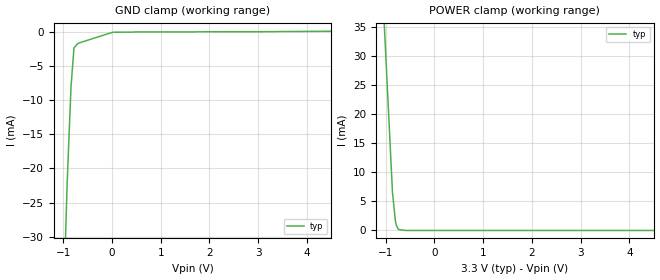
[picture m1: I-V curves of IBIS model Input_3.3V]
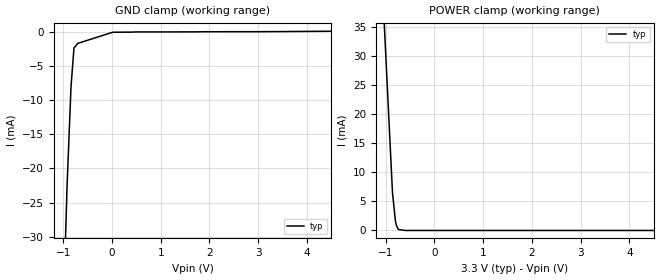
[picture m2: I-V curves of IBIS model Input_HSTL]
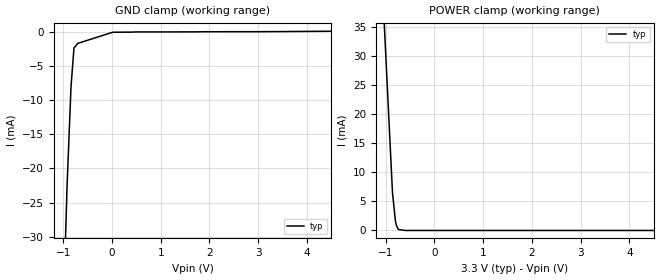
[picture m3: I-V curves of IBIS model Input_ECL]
| Teraspeed Modeling Services.
| http://www.teraspeed.com
[IBIS Ver]   3.2
[Comment Char] |_char
[File Name]   nb100ep223fa.ibs
[File Rev]   1.0
[Source]  Teraspeed Consulting Group LLC.
   Derived from MC100EO809fa Measured and Created by Dekker Graden
[Date]   7/7/2004
[Notes]   Quality Check of this IBIS model: Model Passes IBIS Check
   Model parses into ICX IS. Simulation done with Hyperlynx.
   1. Package data gained using TDA Systems Iconnect Software.
[Disclaimer]
| Use: Teraspeed Consulting Group LLC ("Teraspeed") hereby
| grants the user of this IBIS model ("user") a non-exclusive,
| nontransferable license to use the model under the following
| terms. User may only use the IBIS model and is not granted
| rights to sell, copy (except as needed to run the IBIS
| model), rent, lease or sub-license the IBIS model in whole or
| in part, or in modified form to anyone. User may modify the
| IBIS model to suit its specific applications, but rights to
| derivative works and such modifications shell belong to
| Teraspeed.
| DISCLAIMER OF WARRANTY: UNLESS OTHERWISE AGREED TO IN WRITING
| TERASPEED DISCLAIMS AND USER WAIVES ALL WARRANTIES, EXPRESS
| OR IMPLIED, INCLUDING WARRANTIES OF MERCHANTABILITY AND
| FITNESS FOR A PARTICULAR PURPOSE. IN NO EVENT SHALL
| TERASPEED BE LIABLE FOR ANY DIRECT OR INDIRECT DAMAGES,
| WHETHER IN CONTRACT OR TORT, INCLUDING, WITHOUT LIMITATION,
| LOST PROFITS, BUSINESS INTERRUPTION, OR LOST INFORMATION
| ARISING OUT OF THE USE OF OR THE INABILITY TO USE THE MODEL,
| EVEN IF TERASPEED HAS BEEN ADVISED OF THE POSSIBILITY OF SUCH
| DAMAGES.
[Copyright]
| This file is the legal property of Teraspeed Copyright(c) 2004.
| All other rights are reserved.
[Component] NB100EP223FA
[Manufacturer] OnSemiconductor
[Package]
| variable   typ   min   max
R_pkg  2.9814E-02  2.9814E-02  2.9814E-02
L_pkg  2.0870E-09  2.0870E-09  2.0870E-09
C_pkg  4.2591E-13  4.2591E-13  4.2591E-13
[Pin] signal_name  model_name  R_pin  L_pin C_pin
1   VCCO   POWER
2   NC   NC
3   NC   NC
4   VCC   POWER
5   HSTL_CLK   Input_HSTL
6   _HSTL_CLK   Input_HSTL
7   CLK_SEL   Input_ECL
8   LVPECL_CLK   Input_ECL
9   _LVPECL_CLK   Input_ECL
10   GND   GND
11   OE   Input_3.3V
12   NC   NC
13   NC   NC
14   _Q21   TRI_HSTL
15   Q21   TRI_HSTL
16   VCCO   POWER
17   VCCO   POWER
18   _Q20   TRI_HSTL
19   Q20   TRI_HSTL
20   _Q19   TRI_HSTL
21   Q19   TRI_HSTL
22   _Q18   TRI_HSTL
23   Q18   TRI_HSTL
24   _Q17   TRI_HSTL
25   Q17   TRI_HSTL
26   _Q16   TRI_HSTL
27   Q16   TRI_HSTL
28   _Q15   TRI_HSTL
29   Q15   TRI_HSTL
30   _Q14   TRI_HSTL
31   Q14   TRI_HSTL
32   VCCO   POWER
33   VCCO   POWER
34   _Q13   TRI_HSTL
35   Q13   TRI_HSTL
36   _Q12   TRI_HSTL
37   Q12   TRI_HSTL
38   _Q11   TRI_HSTL
39   Q11   TRI_HSTL
40   _Q10   TRI_HSTL
41   Q10   TRI_HSTL
42   _Q9   TRI_HSTL
43   Q9   TRI_HSTL
44   _Q8   TRI_HSTL
45   Q8   TRI_HSTL
46   _Q7   TRI_HSTL
47   Q7   TRI_HSTL
48   VCCO   POWER
49   VCCO   POWER
50   _Q6   TRI_HSTL
51   Q6   TRI_HSTL
52   _Q5   TRI_HSTL
53   Q5   TRI_HSTL
54   _Q4   TRI_HSTL
55   Q4   TRI_HSTL
56   _Q3   TRI_HSTL
57   Q3   TRI_HSTL
58   _Q2   TRI_HSTL
59   Q2   TRI_HSTL
60   _Q1   TRI_HSTL
61   Q1   TRI_HSTL
62   _Q0   TRI_HSTL
63   Q0   TRI_HSTL
64   VCCO   POWER
[Diff Pin] inv_pin vdiff tdelay_typ tdelay_min tdelay_max
5   6   150mV  NA  NA  NA
8   9   150mV  NA  NA  NA
15  14  NA   NA  NA  NA
19  18  NA   NA  NA  NA
21  20  NA   NA  NA  NA
23  22  NA   NA  NA  NA
25  24  NA   NA  NA  NA
27  26  NA   NA  NA  NA
31  30  NA   NA  NA  NA
35  34  NA   NA  NA  NA
39  38  NA   NA  NA  NA
41  40  NA   NA  NA  NA
43  42  NA   NA  NA  NA
45  44  NA   NA  NA  NA
47  46  NA   NA  NA  NA
51  50  NA   NA  NA  NA
53  52  NA   NA  NA  NA
55  54  NA   NA  NA  NA
57  56  NA   NA  NA  NA
59  58  NA   NA  NA  NA
61  60  NA   NA  NA  NA|
| Models and submodels in the file (4): Input_3.3V (Input), Input_HSTL (Input_ECL), Input_ECL (Input_ECL), TRI_HSTL (3-state_ECL)
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[Model] Input_3.3V
Model_type Input
Vinl  = 800.000mV
Vinh  = 2.00000V
C_comp  2.00000pF  NA  NA
| variable   typ   NA  NA
[Voltage Range]   3.30000V  NA  NA
[POWER Clamp Reference]  3.30000V  NA  NA
[GND Clamp Reference]   0.00000V  NA  NA
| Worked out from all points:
|   POWER clamp passes 1 mA (typ) near -0.78 V on its own axis
[GND Clamp]
-3.3V     -595.9mA   NA         NA
-921.3mV  -22.39mA   NA         NA
-840.9mV  -8.024mA   NA         NA
-780.1mV  -2.358mA   NA         NA
-702.1mV  -1.696mA   NA         NA
21.13mV   -61.74uA   NA         NA
6.6V      188.7uA    NA         NA
[POWER Clamp]
-3.3V     425.1mA    NA         NA
-1.039V   36.89mA    NA         NA
-1.019V   33.39mA    NA         NA
-862.4mV  6.536mA    NA         NA
-801.9mV  1.614mA    NA         NA
-781.5mV  878.1uA    NA         NA
-741.2mV  168.7uA    NA         NA
-593mV    0A         NA         NA
6.6V      0A         NA         NA
[Model] Input_HSTL
Model_type Input_ECL
Vinl  = 690.000mV
Vinh  = 890.000mV
C_comp  2.00000pF  NA  NA
| variable   typ   NA  NA
[Voltage Range]   3.30000V  NA  NA
[POWER Clamp Reference]  3.30000V  NA  NA
[GND Clamp Reference]   0.00000V  NA  NA
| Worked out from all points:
|   POWER clamp passes 1 mA (typ) near -0.78 V on its own axis
[GND Clamp]
-3.3V     -595.9mA   NA         NA
-921.3mV  -22.39mA   NA         NA
-840.9mV  -8.024mA   NA         NA
-780.1mV  -2.358mA   NA         NA
-702.1mV  -1.696mA   NA         NA
21.13mV   -61.74uA   NA         NA
6.6V      188.7uA    NA         NA
[POWER Clamp]
-3.3V     425.1mA    NA         NA
-1.039V   36.89mA    NA         NA
-1.019V   33.39mA    NA         NA
-862.4mV  6.536mA    NA         NA
-801.9mV  1.614mA    NA         NA
-781.5mV  878.1uA    NA         NA
-741.2mV  168.7uA    NA         NA
-593mV    0A         NA         NA
6.6V      0A         NA         NA
[Model] Input_ECL
Model_type Input_ECL
Vinl  = 1.7000V
Vinh  = 2.1350V
C_comp  2.00000pF  NA  NA
| variable   typ   NA  NA
[Voltage Range]   3.30000V  NA  NA
[POWER Clamp Reference]  3.30000V  NA  NA
[GND Clamp Reference]   0.00000V  NA  NA
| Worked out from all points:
|   POWER clamp passes 1 mA (typ) near -0.78 V on its own axis
[GND Clamp]
-3.3V     -595.9mA   NA         NA
-921.3mV  -22.39mA   NA         NA
-840.9mV  -8.024mA   NA         NA
-780.1mV  -2.358mA   NA         NA
-702.1mV  -1.696mA   NA         NA
21.13mV   -61.74uA   NA         NA
6.6V      188.7uA    NA         NA
[POWER Clamp]
-3.3V     425.1mA    NA         NA
-1.039V   36.89mA    NA         NA
-1.019V   33.39mA    NA         NA
-862.4mV  6.536mA    NA         NA
-801.9mV  1.614mA    NA         NA
-781.5mV  878.1uA    NA         NA
-741.2mV  168.7uA    NA         NA
-593mV    0A         NA         NA
6.6V      0A         NA         NA
